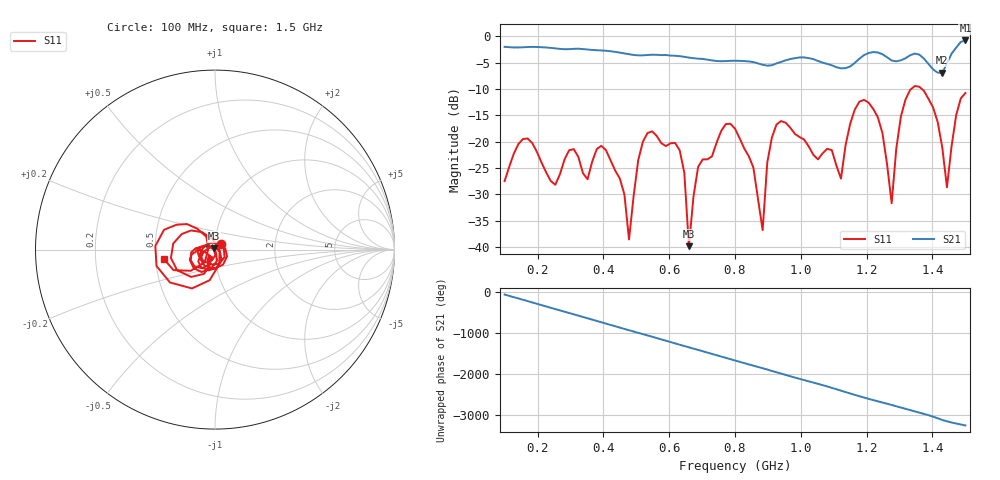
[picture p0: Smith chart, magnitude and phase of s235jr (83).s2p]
! NanoVNA-App
! Date: 2025-09-25 15:04:48
! Start: 100MHz Stop: 1,5GHz Points: 101
! S-Parameter data: F S11 S21 S12 S22
# Hz S RI R 50
!  Frequency  S11_Real  S11_Imag  S21_Real  S21_Imag  S12_Real  S12_Imag  S22_Real  S22_Imag
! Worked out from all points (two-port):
!   101 points, 100 MHz to 1.5 GHz, reference 50 ohm
!   highest |S21| = -0.75 dB at 1.5 GHz (marker M1); lowest = -6.9 dB at 1.43 GHz (marker M2)
!   |S21| within 3 dB of the highest: start of sweep to 633.7 MHz; 1.187 GHz to 1.257 GHz (69.82 MHz wide, 5.71 % of centre) (the widest 2 of 4)
!   lowest |S11| = -39.8 dB at 660 MHz (marker M3), VSWR 1.02, Z = 49.2 + j0.65 ohm
!   |S11| at or under -10 dB: start of sweep to 1.335 GHz; 1.368 GHz to end of sweep
!   S12 and S22 are empty: the file has one direction only
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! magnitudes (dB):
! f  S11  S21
! 100 MHz  -27.5  -2.0
! 170 MHz  -19.4  -2.0
! 338 MHz  -26.0  -2.4
! 408 MHz  -21.6  -2.7
! 478 MHz  -38.6  -3.4
! 520 MHz  -20.0  -3.6
! 576 MHz  -20.3  -3.5
! 632 MHz  -21.6  -3.7
! 660 MHz  -39.8  -4.0
! 688 MHz  -24.8  -4.2
! 800 MHz  -17.5  -4.6
! 884 MHz  -36.8  -5.4
! 898 MHz  -24.0  -5.5
! 926 MHz  -16.7  -5.1
! 1.038 GHz  -22.5  -4.3
! 1.122 GHz  -27.0  -6.1
! 1.206 GHz  -12.6  -3.1
! 1.276 GHz  -31.7  -4.6
! 1.332 GHz  -10.2  -3.6
! 1.43 GHz  -21.2  -6.9
! 1.444 GHz  -28.7  -5.1
! 1.5 GHz  -10.8  -0.8
